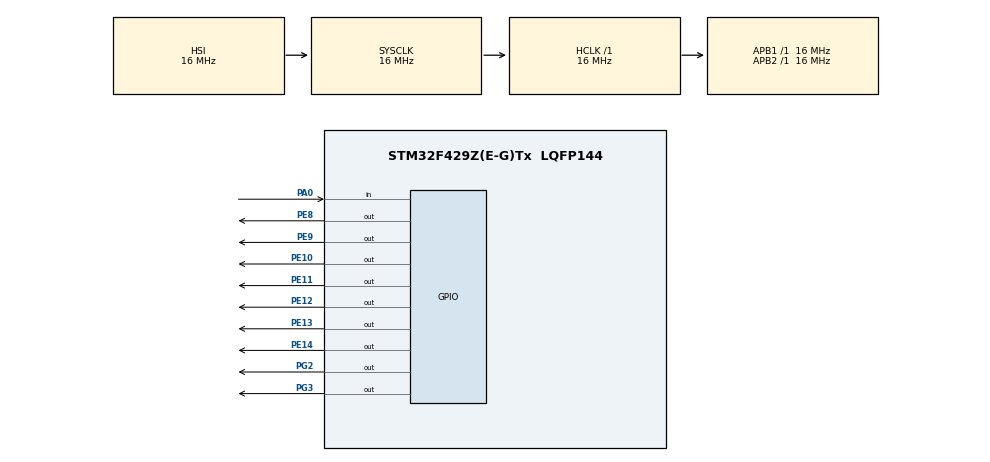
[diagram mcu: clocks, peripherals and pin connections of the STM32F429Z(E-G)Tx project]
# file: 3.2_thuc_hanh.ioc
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Mcu.Family=STM32F4
Mcu.Name=STM32F429Z(E-G)Tx
Mcu.Package=LQFP144
NVIC.PriorityGroup=NVIC_PRIORITYGROUP_4
PA0/WKUP.Signal=GPIO_Input
PE10.Signal=GPIO_Output
PE11.Signal=GPIO_Output
PE12.Signal=GPIO_Output
PE13.Signal=GPIO_Output
PE14.Signal=GPIO_Output
PE8.Signal=GPIO_Output
PE9.Signal=GPIO_Output
PG2.Signal=GPIO_Output
PG3.Signal=GPIO_Output
ProjectManager.HeapSize=0x200
ProjectManager.StackSize=0x400
ProjectManager.TargetToolchain=STM32CubeIDE
RCC.AHBFreq_Value=16000000
RCC.APB1Freq_Value=16000000
RCC.APB2Freq_Value=16000000
RCC.CortexFreq_Value=16000000
RCC.HSE_VALUE=25000000
RCC.HSI_VALUE=16000000
RCC.LSE_VALUE=32768
RCC.SYSCLKFreq_VALUE=16000000
RCC.VCOOutputFreq_Value=192000000
board=custom

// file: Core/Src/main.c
/* USER CODE BEGIN Header */
/**
  ******************************************************************************
  * @file           : main.c
  * @brief          : Main program body
  ******************************************************************************
  * @attention
  *
  * Copyright (c) 2025 STMicroelectronics.
  * All rights reserved.
  *
  * This software is licensed under terms that can be found in the LICENSE file
  * in the root directory of this software component.
  * If no LICENSE file comes with this software, it is provided AS-IS.
  *
  ******************************************************************************
  */
/* USER CODE END Header */
#include "main.h"

/* USER CODE BEGIN PD */
#define LED1_PIN GPIO_PIN_2
#define LED2_PIN GPIO_PIN_3
#define LED_PORT GPIOG
/* USER CODE END PD */

void SystemClock_Config(void);
static void MX_GPIO_Init(void);

/* USER CODE BEGIN 0 */
void display_7_segment(int number){
  int segment_led[10][7] = {
    {1,1,1,1,1,1,0},
    {0,1,1,0,0,0,0},
    {1,1,0,1,1,0,1},
    {1,1,1,1,0,0,1},
    {0,1,1,0,0,1,1},
    {1,0,1,1,0,1,1},
    {1,0,1,1,1,1,1},
    {1,1,1,0,0,0,0},
    {1,1,1,1,1,1,1},
    {1,1,1,1,0,1,1}
  };

  for(int i = 0; i < 7; i++){
    HAL_GPIO_WritePin(GPIOE, GPIO_PIN_8 + i, segment_led[number][i]);
  }
}
/* USER CODE END 0 */

int main(void)
{

  /* MCU Configuration--------------------------------------------------------*/

  /* Reset of all peripherals, Initializes the Flash interface and the Systick. */
  HAL_Init();

  /* Configure the system clock */
  SystemClock_Config();

  /* Initialize all configured peripherals */
  MX_GPIO_Init();

  /* Infinite loop */
  /* USER CODE BEGIN WHILE */
  while (1)
  {
    // Display number 2
    HAL_GPIO_WritePin(GPIOG, GPIO_PIN_2, GPIO_PIN_SET);
    HAL_GPIO_WritePin(GPIOG, GPIO_PIN_3, GPIO_PIN_SET);
//    HAL_GPIO_WritePin(GPIOG, GPIO_PIN_3, GPIO_PIN_RESET);
    display_7_segment(8);
//    HAL_Delay(500);

    // Display number 5
//    HAL_GPIO_WritePin(GPIOG, GPIO_PIN_2, GPIO_PIN_RESET);
//    HAL_GPIO_WritePin(GPIOG, GPIO_PIN_3, GPIO_PIN_SET);
//    display_7_segment(5);
//    HAL_Delay(500);
    /* USER CODE END WHILE */

  }
}

void SystemClock_Config(void)
{
  RCC_OscInitTypeDef RCC_OscInitStruct = {0};
  RCC_ClkInitTypeDef RCC_ClkInitStruct = {0};

  /** Configure the main internal regulator output voltage
  */
  __HAL_RCC_PWR_CLK_ENABLE();
  __HAL_PWR_VOLTAGESCALING_CONFIG(PWR_REGULATOR_VOLTAGE_SCALE3);

  /** Initializes the RCC Oscillators according to the specified parameters
  * in the RCC_OscInitTypeDef structure.
  */
  RCC_OscInitStruct.OscillatorType = RCC_OSCILLATORTYPE_HSI;
  RCC_OscInitStruct.HSIState = RCC_HSI_ON;
  RCC_OscInitStruct.HSICalibrationValue = RCC_HSICALIBRATION_DEFAULT;
  RCC_OscInitStruct.PLL.PLLState = RCC_PLL_NONE;
  if (HAL_RCC_OscConfig(&RCC_OscInitStruct) != HAL_OK)
  {
    Error_Handler();
  }

  /** Initializes the CPU, AHB and APB buses clocks
  */
  RCC_ClkInitStruct.ClockType = RCC_CLOCKTYPE_HCLK|RCC_CLOCKTYPE_SYSCLK
                              |RCC_CLOCKTYPE_PCLK1|RCC_CLOCKTYPE_PCLK2;
  RCC_ClkInitStruct.SYSCLKSource = RCC_SYSCLKSOURCE_HSI;
  RCC_ClkInitStruct.AHBCLKDivider = RCC_SYSCLK_DIV1;
  RCC_ClkInitStruct.APB1CLKDivider = RCC_HCLK_DIV1;
  RCC_ClkInitStruct.APB2CLKDivider = RCC_HCLK_DIV1;

  if (HAL_RCC_ClockConfig(&RCC_ClkInitStruct, FLASH_LATENCY_0) != HAL_OK)
  {
    Error_Handler();
  }
}

static void MX_GPIO_Init(void)
{
  GPIO_InitTypeDef GPIO_InitStruct = {0};

  /* GPIO Ports Clock Enable */
  __HAL_RCC_GPIOA_CLK_ENABLE();
  __HAL_RCC_GPIOE_CLK_ENABLE();
  __HAL_RCC_GPIOG_CLK_ENABLE();

  /*Configure GPIO pin Output Level */
  HAL_GPIO_WritePin(GPIOE, GPIO_PIN_8|GPIO_PIN_9|GPIO_PIN_10|GPIO_PIN_11
                          |GPIO_PIN_12|GPIO_PIN_13|GPIO_PIN_14, GPIO_PIN_RESET);

  /*Configure GPIO pin Output Level */
  HAL_GPIO_WritePin(GPIOG, GPIO_PIN_2|GPIO_PIN_3, GPIO_PIN_RESET);

  /*Configure GPIO pin : PA0 */
  GPIO_InitStruct.Pin = GPIO_PIN_0;
  GPIO_InitStruct.Mode = GPIO_MODE_INPUT;
  GPIO_InitStruct.Pull = GPIO_NOPULL;
  HAL_GPIO_Init(GPIOA, &GPIO_InitStruct);

  /*Configure GPIO pins : PE8 PE9 PE10 PE11
                         PE12 PE13 PE14 */
  GPIO_InitStruct.Pin = GPIO_PIN_8|GPIO_PIN_9|GPIO_PIN_10|GPIO_PIN_11
                          |GPIO_PIN_12|GPIO_PIN_13|GPIO_PIN_14;
  GPIO_InitStruct.Mode = GPIO_MODE_OUTPUT_PP;
  GPIO_InitStruct.Pull = GPIO_NOPULL;
  GPIO_InitStruct.Speed = GPIO_SPEED_FREQ_LOW;
  HAL_GPIO_Init(GPIOE, &GPIO_InitStruct);

  /*Configure GPIO pins : PG2 PG3 */
  GPIO_InitStruct.Pin = GPIO_PIN_2|GPIO_PIN_3;
  GPIO_InitStruct.Mode = GPIO_MODE_OUTPUT_PP;
  GPIO_InitStruct.Pull = GPIO_NOPULL;
  GPIO_InitStruct.Speed = GPIO_SPEED_FREQ_LOW;
  HAL_GPIO_Init(GPIOG, &GPIO_InitStruct);

}

void Error_Handler(void)
{
  __disable_irq();
  while (1)
  {
  }
}
